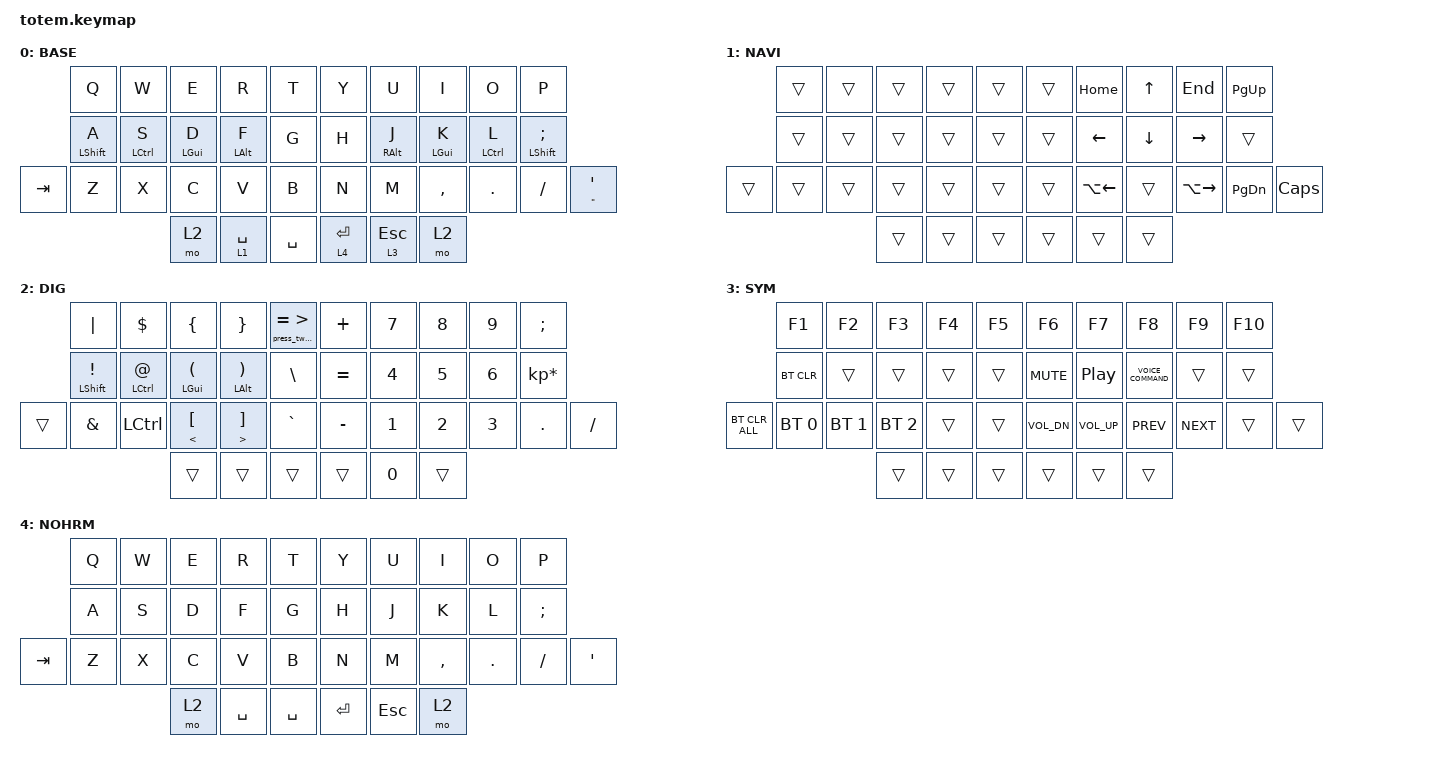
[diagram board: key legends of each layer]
//
//                                                        ▀▀▀▀▀     ▀▀▀▀▀          ▀▀█▀▀
//                                                        ▄▀▀▀▄  ▄  ▄▀▀▀▄  ▄  ▄▀▀▀▄  █  ▄▀▀▀▄
//                                                        █   █  █  █   █  █  █   █  █  █   █
//                                                         ▀▀▀   █   ▀▀▀   █   ▀▀▀   ▀   ▀▀▀
//                                                               █      ▄▄▄█▄▄▄    █   █  
//                                                               ▀      █  █  █     █▄█
//                                                             ▀▀▀▀▀    █  █  █      ▀
//                                                                      ▀  ▀  ▀
//
// ▄▄▄▄▄▄▄▄▄▄▄▄▄▄▄▄▄▄▄▄▄▄▄▄▄▄▄▄▄▄▄▄▄▄▄▄▄▄▄▄▄▄▄▄▄▄▄▄▄▄▄▄▄▄▄▄▄▄▄▄▄▄▄▄▄▄▄▄▄▄▄▄▄▄▄▄▄▄▄▄▄▄▄▄▄▄▄▄▄▄▄▄▄▄▄▄▄▄▄▄▄▄▄▄▄▄▄▄▄▄▄▄▄▄▄▄▄▄▄▄▄▄▄▄▄▄▄▄▄▄▄▄▄▄▄▄▄▄▄▄▄▄▄▄▄▄▄▄▄

#include <behaviors.dtsi>
#include <dt-bindings/zmk/bt.h>
#include <dt-bindings/zmk/keys.h>

#define BASE 0
#define NAV  1
#define SYM  2
#define ADJ  3
#define TVP1 4
#define TVP2 5

&mt {
    quick-tap-ms = <200>;
    flavor = "tap-preferred";
    tapping-term-ms = <175>;
    require-prior-idle-ms = <(-1)>;
};

&lt {
    tapping-term-ms = <175>;
    quick-tap-ms = <200>;
    require-prior-idle-ms = <(-1)>;
    flavor = "tap-preferred";
};

/ {
    combos {
        compatible = "zmk,combos";

        combo_esc {
            timeout-ms = <50>;
            key-positions = <0 1>;
            bindings = <&kp ESC>;
        };

        combo_backspace {
            bindings = <&kp BACKSPACE>;
            key-positions = <16 17>;
        };

        combo_lang {
            bindings = <&kp LC(SPACE)>;
            key-positions = <21 34>;
        };

        combo_caps_words {
            bindings = <&caps_word>;
            key-positions = <11 12 13>;
        };

        combo_bt_clear {
            bindings = <&bt BT_CLR>;
            key-positions = <10 11>;
            layers = <3>;
        };

        combo_bt_clear_all {
            bindings = <&bt BT_CLR_ALL>;
            key-positions = <21 22>;
            layers = <3>;
        };
    };

    macros {
        press_two_keys: lm {
            label = "LM";
            compatible = "zmk,behavior-macro-two-param";
            #binding-cells = <2>;
            bindings =
                <&macro_param_1to1>,
                <&macro_tap>,
                <&kp MACRO_PLACEHOLDER &macro_param_2to1>,
                <&macro_tap>,
                <&kp MACRO_PLACEHOLDER>;
        };
    };

    keymap {
        compatible = "zmk,keymap";

        // ▄▄▄▄▄▄▄▄▄▄▄▄▄▄▄▄▄▄▄▄▄▄▄▄▄▄▄▄▄▄▄▄▄▄▄▄▄▄▄▄▄▄▄▄▄▄▄▄▄▄▄▄▄▄▄▄▄▄▄▄▄▄▄▄▄▄▄▄▄▄▄▄▄▄▄▄▄▄▄▄▄▄▄▄▄▄▄▄▄▄▄▄▄▄▄▄▄▄▄▄▄▄▄▄▄▄▄▄▄▄▄▄▄▄▄▄▄▄▄▄▄▄▄▄▄▄▄▄▄▄▄▄▄▄▄▄▄▄▄▄▄▄▄▄▄▄▄▄▄

        base_layer {
            // ┏━━━━━━━━━━━━━━━━━━━━━━━━━━━━━━━━━━━━━━━┓

            label = "BASE";

            // ┗━━━━━━━━━━━━━━━━━━━━━━━━━━━━━━━━━━━━━━━┛
            //             ┏━━━━━━━━━━━┳━━━━━━━━━━━┳━━━━━━━━━━━┳━━━━━━━━━━━┳━━━━━━━━━━━┓   ┏━━━━━━━━━━━┳━━━━━━━━━━━┳━━━━━━━━━━━┳━━━━━━━━━━━┳━━━━━━━━━━━┓
            //             ┃     Q     ┃     W     ┃     F     ┃     P     ┃     G     ┃   ┃     J     ┃     L     ┃     U     ┃     Y     ┃     ;     ┃
            //             ┣━━━━━━━━━━━╋━━━━━━━━━━━╋━━━━━━━━━━━╋━━━━━━━━━━━╋━━━━━━━━━━━┫   ┣━━━━━━━━━━━╋━━━━━━━━━━━╋━━━━━━━━━━━╋━━━━━━━━━━━╋━━━━━━━━━━━┫
            //             ┃     A     ┃     R     ┃     S     ┃     T     ┃     D     ┃   ┃     H     ┃     N     ┃     E     ┃     I     ┃     O     ┃
            // ┏━━━━━━━━━━━╋━━━━━━━━━━━╋━━━━━━━━━━━╋━━━━━━━━━━━╋━━━━━━━━━━━╋━━━━━━━━━━━┫   ┣━━━━━━━━━━━╋━━━━━━━━━━━╋━━━━━━━━━━━╋━━━━━━━━━━━╋━━━━━━━━━━━╋━━━━━━━━━━━┓
            // ┃     Q     ┃     Z     ┃     X     ┃     C     ┃     V     ┃     B     ┃   ┃     K     ┃     M     ┃     ,     ┃     .     ┃     /     ┃     \     ┃
            // ┗━━━━━━━━━━━┻━━━━━━━━━━━┻━━━━━━━━━━━╋━━━━━━━━━━━╋━━━━━━━━━━━╋━━━━━━━━━━━┫   ┣━━━━━━━━━━━╋━━━━━━━━━━━╋━━━━━━━━━━━╋━━━━━━━━━━━┻━━━━━━━━━━━┻━━━━━━━━━━━┛
            //                                     ┃    DEL    ┃    TAB    ┃    SPC    ┃   ┃   ENTER   ┃           ┃   BSPC    ┃
            //                                     ┗━━━━━━━━━━━┻━━━━━━━━━━━┻━━━━━━━━━━━┛   ┗━━━━━━━━━━━┻━━━━━━━━━━━┻━━━━━━━━━━━┛

            bindings = <
         &kp Q             &kp W        &kp E       &kp R        &kp T        &kp Y    &kp U       &kp I       &kp O        &kp P
         &mt LEFT_SHIFT A  &mt LCTRL S  &mt LGUI D  &mt LALT F   &kp G        &kp H    &mt RALT J  &mt LGUI K  &mt LCTRL L  &mt LSHIFT SEMICOLON
&kp TAB  &kp Z             &kp X        &kp C       &kp V        &kp B        &kp N        &kp M       &kp COMMA   &kp DOT      &kp FSLH              &mt DOUBLE_QUOTES SQT
                                        &mo 2       &lt 1 SPACE  &kp SPACE    &lt 4 RET    &lt 3 ESC   &mo 2
            >;
        };

        nav_layer {
            // ┏━━━━━━━━━━━━━━━━━━━━━━━━━━━━━━━━━━━━━━━┓

            label = "NAVI";

            // ┗━━━━━━━━━━━━━━━━━━━━━━━━━━━━━━━━━━━━━━━┛
            //             ┏━━━━━━━━━━━┳━━━━━━━━━━━┳━━━━━━━━━━━┳━━━━━━━━━━━┳━━━━━━━━━━━┓   ┏━━━━━━━━━━━┳━━━━━━━━━━━┳━━━━━━━━━━━┳━━━━━━━━━━━┳━━━━━━━━━━━┓
            //             ┃           ┃           ┃     UP    ┃           ┃     {     ┃   ┃     }     ┃     7     ┃     8     ┃     9     ┃     +     ┃
            //             ┣━━━━━━━━━━━╋━━━━━━━━━━━╋━━━━━━━━━━━╋━━━━━━━━━━━╋━━━━━━━━━━━┫   ┣━━━━━━━━━━━╋━━━━━━━━━━━╋━━━━━━━━━━━╋━━━━━━━━━━━╋━━━━━━━━━━━┫
            //             ┃   SHIFT   ┃   LEFT    ┃    DOWN   ┃   RIGHT   ┃     [     ┃   ┃     ]     ┃     4     ┃     5     ┃     6     ┃     -     ┃
            // ┏━━━━━━━━━━━╋━━━━━━━━━━━╋━━━━━━━━━━━╋━━━━━━━━━━━╋━━━━━━━━━━━╋━━━━━━━━━━━┫   ┣━━━━━━━━━━━╋━━━━━━━━━━━╋━━━━━━━━━━━╋━━━━━━━━━━━╋━━━━━━━━━━━╋━━━━━━━━━━━┓
            // ┃           ┃           ┃   P UP    ┃  C LOCK   ┃  P DOWN   ┃     (     ┃   ┃     )     ┃     1     ┃     2     ┃     3     ┃     *     ┃           ┃
            // ┗━━━━━━━━━━━┻━━━━━━━━━━━┻━━━━━━━━━━━╋━━━━━━━━━━━╋━━━━━━━━━━━╋━━━━━━━━━━━┫   ┣━━━━━━━━━━━╋━━━━━━━━━━━╋━━━━━━━━━━━╋━━━━━━━━━━━┻━━━━━━━━━━━┻━━━━━━━━━━━┛
            //                                     ┃           ┃    TAB    ┃    SPC    ┃   ┃    DEL    ┃     0     ┃           ┃
            //                                     ┗━━━━━━━━━━━┻━━━━━━━━━━━┻━━━━━━━━━━━┛   ┗━━━━━━━━━━━┻━━━━━━━━━━━┻━━━━━━━━━━━┛

            bindings = <
        &trans  &trans  &trans  &trans  &trans    &trans  &kp HOME      &kp UP_ARROW  &kp END        &kp PG_UP
        &trans  &trans  &trans  &trans  &trans    &trans  &kp LEFT      &kp DOWN      &kp RIGHT      &trans
&trans  &trans  &trans  &trans  &trans  &trans    &trans  &kp LA(LEFT)  &trans        &kp LA(RIGHT)  &kp PG_DN  &kp CAPS
                        &trans  &trans  &trans    &trans  &trans        &trans
            >;
        };

        digit_layer {
            // ┏━━━━━━━━━━━━━━━━━━━━━━━━━━━━━━━━━━━━━━━┓

            label = "DIG";

            // ┗━━━━━━━━━━━━━━━━━━━━━━━━━━━━━━━━━━━━━━━┛
            //             ┏━━━━━━━━━━━┳━━━━━━━━━━━┳━━━━━━━━━━━┳━━━━━━━━━━━┳━━━━━━━━━━━┓   ┏━━━━━━━━━━━┳━━━━━━━━━━━┳━━━━━━━━━━━┳━━━━━━━━━━━┳━━━━━━━━━━━┓
            //             ┃   RESET   ┃ BT CLEAR  ┃  OUT TOG  ┃           ┃           ┃   ┃           ┃    F7     ┃    F8     ┃    F9     ┃    F12    ┃
            //             ┣━━━━━━━━━━━╋━━━━━━━━━━━╋━━━━━━━━━━━╋━━━━━━━━━━━╋━━━━━━━━━━━┫   ┣━━━━━━━━━━━╋━━━━━━━━━━━╋━━━━━━━━━━━╋━━━━━━━━━━━╋━━━━━━━━━━━┫
            //             ┃ BOOTLOAD  ┃ BT NEXT   ┃           ┃           ┃           ┃   ┃           ┃    F4     ┃    F5     ┃    F6     ┃    F11    ┃
            // ┏━━━━━━━━━━━╋━━━━━━━━━━━╋━━━━━━━━━━━╋━━━━━━━━━━━╋━━━━━━━━━━━╋━━━━━━━━━━━┫   ┣━━━━━━━━━━━╋━━━━━━━━━━━╋━━━━━━━━━━━╋━━━━━━━━━━━╋━━━━━━━━━━━╋━━━━━━━━━━━┓
            // ┃           ┃           ┃ BT PREV   ┃           ┃           ┃           ┃   ┃           ┃    F1     ┃    F2     ┃    F3     ┃    F10    ┃           ┃
            // ┗━━━━━━━━━━━┻━━━━━━━━━━━┻━━━━━━━━━━━╋━━━━━━━━━━━╋━━━━━━━━━━━╋━━━━━━━━━━━┫   ┣━━━━━━━━━━━╋━━━━━━━━━━━╋━━━━━━━━━━━╋━━━━━━━━━━━┻━━━━━━━━━━━┻━━━━━━━━━━━┛
            //                                     ┃           ┃           ┃           ┃   ┃           ┃           ┃           ┃
            //                                     ┗━━━━━━━━━━━┻━━━━━━━━━━━┻━━━━━━━━━━━┛   ┗━━━━━━━━━━━┻━━━━━━━━━━━┻━━━━━━━━━━━┛

            bindings = <
        &kp PIPE                &kp DOLLAR         &kp LEFT_BRACE              &kp RIGHT_BRACE                 &press_two_keys EQUAL GREATER_THAN    &kp PLUS   &kp N7  &kp N8  &kp N9  &kp SEMICOLON
        &mt LSHIFT EXCLAMATION  &mt LCTRL AT_SIGN  &mt LGUI LEFT_PARENTHESIS   &mt LALT RIGHT_PARENTHESIS      &kp BACKSLASH                         &kp EQUAL  &kp N4  &kp N5  &kp N6  &kp KP_MULTIPLY
&trans  &kp AMPERSAND           &kp LCTRL          &mt LESS_THAN LEFT_BRACKET  &mt GREATER_THAN RIGHT_BRACKET  &kp GRAVE                             &kp MINUS  &kp N1  &kp N2  &kp N3  &kp PERIOD       &kp SLASH
                                                   &trans                      &trans                          &trans                                &trans     &kp N0  &trans
            >;
        };

        sim_layer {
            // ┏━━━━━━━━━━━━━━━━━━━━━━━━━━━━━━━━━━━━━━━┓

            label = "SYM";

            // ┗━━━━━━━━━━━━━━━━━━━━━━━━━━━━━━━━━━━━━━━┛
            //             ┏━━━━━━━━━━━┳━━━━━━━━━━━┳━━━━━━━━━━━┳━━━━━━━━━━━┳━━━━━━━━━━━┓   ┏━━━━━━━━━━━┳━━━━━━━━━━━┳━━━━━━━━━━━┳━━━━━━━━━━━┳━━━━━━━━━━━┓
            //             ┃     !     ┃     @     ┃     #     ┃     $     ┃     %     ┃   ┃     ˆ     ┃     &     ┃     Ü     ┃     '     ┃     "     ┃
            //             ┣━━━━━━━━━━━╋━━━━━━━━━━━╋━━━━━━━━━━━╋━━━━━━━━━━━╋━━━━━━━━━━━┫   ┣━━━━━━━━━━━╋━━━━━━━━━━━╋━━━━━━━━━━━╋━━━━━━━━━━━╋━━━━━━━━━━━┫
            //             ┃     Ä     ┃           ┃    SZ     ┃           ┃           ┃   ┃   MUTE    ┃   YEN     ┃   EURO    ┃  POUND    ┃     Ö     ┃
            // ┏━━━━━━━━━━━╋━━━━━━━━━━━╋━━━━━━━━━━━╋━━━━━━━━━━━╋━━━━━━━━━━━╋━━━━━━━━━━━┫   ┣━━━━━━━━━━━╋━━━━━━━━━━━╋━━━━━━━━━━━╋━━━━━━━━━━━╋━━━━━━━━━━━╋━━━━━━━━━━━┓
            // ┃           ┃  EMAIL1   ┃  EMAIL2   ┃           ┃           ┃           ┃   ┃   VOL-    ┃   VOL+    ┃   LAST    ┃   NEXT    ┃     \     ┃           ┃
            // ┗━━━━━━━━━━━┻━━━━━━━━━━━┻━━━━━━━━━━━╋━━━━━━━━━━━╋━━━━━━━━━━━╋━━━━━━━━━━━┫   ┣━━━━━━━━━━━╋━━━━━━━━━━━╋━━━━━━━━━━━╋━━━━━━━━━━━┻━━━━━━━━━━━┻━━━━━━━━━━━┛
            //                                     ┃           ┃    GIF    ┃    ADJ    ┃   ┃           ┃           ┃           ┃
            //                                     ┗━━━━━━━━━━━┻━━━━━━━━━━━┻━━━━━━━━━━━┛   ┗━━━━━━━━━━━┻━━━━━━━━━━━┻━━━━━━━━━━━┛

            bindings = <
                &kp F1        &kp F2        &kp F3        &kp F4  &kp F5    &kp F6        &kp F7        &kp F8               &kp F9      &kp F10
                &bt BT_CLR    &trans        &trans        &trans  &trans    &kp C_MUTE    &kp C_PP      &kp C_VOICE_COMMAND  &trans      &trans
&bt BT_CLR_ALL  &bt BT_SEL 0  &bt BT_SEL 1  &bt BT_SEL 2  &trans  &trans    &kp C_VOL_DN  &kp C_VOL_UP  &kp C_PREV           &kp C_NEXT  &trans   &trans
                                            &trans        &trans  &trans    &trans        &trans        &trans
            >;
        };

        no_hrm_right_layer {
            // ┏━━━━━━━━━━━━━━━━━━━━━━━━━━━━━━━━━━━━━━━┓

            label = "NOHRM";

            // ┗━━━━━━━━━━━━━━━━━━━━━━━━━━━━━━━━━━━━━━━┛
            // 우측 엄지 맨 왼쪽 키(ENTER)를 홀드하는 동안 BASE 레이어 전체를 홈로우 모드 없는 일반 kp로 할당

            bindings = <
         &kp Q  &kp W  &kp E  &kp R      &kp T        &kp Y      &kp U    &kp I      &kp O    &kp P
         &kp A  &kp S  &kp D  &kp F      &kp G        &kp H      &kp J    &kp K      &kp L    &kp SEMICOLON
&kp TAB  &kp Z  &kp X  &kp C  &kp V      &kp B        &kp N      &kp M    &kp COMMA  &kp DOT  &kp FSLH       &kp SQT
                       &mo 2  &kp SPACE  &kp SPACE    &kp RET    &kp ESC  &mo 2
            >;
        };

        // ▄▄▄▄▄▄▄▄▄▄▄▄▄▄▄▄▄▄▄▄▄▄▄▄▄▄▄▄▄▄▄▄▄▄▄▄▄▄▄▄▄▄▄▄▄▄▄▄▄▄▄▄▄▄▄▄▄▄▄▄▄▄▄▄▄▄▄▄▄▄▄▄▄▄▄▄▄▄▄▄▄▄▄▄▄▄▄▄▄▄▄▄▄▄▄▄▄▄▄▄▄▄▄▄▄▄▄▄▄▄▄▄▄▄▄▄▄▄▄▄▄▄▄▄▄▄▄▄▄▄▄▄▄▄▄▄▄▄▄▄▄▄▄▄▄▄▄▄▄
        // ▄▄▄▄▄▄▄▄▄▄▄▄▄▄▄▄▄▄▄▄▄▄▄▄▄▄▄▄▄▄▄▄▄▄▄▄▄▄▄▄▄▄▄▄▄▄▄▄▄▄▄▄▄▄▄▄▄▄▄▄▄▄▄▄▄▄▄▄▄▄▄▄▄▄▄▄▄▄▄▄▄▄▄▄▄▄▄▄▄▄▄▄▄▄▄▄▄▄▄▄▄▄▄▄▄▄▄▄▄▄▄▄▄▄▄▄▄▄▄▄▄▄▄▄▄▄▄▄▄▄▄▄▄▄▄▄▄▄▄▄▄▄▄▄▄▄▄▄▄
    };
};
